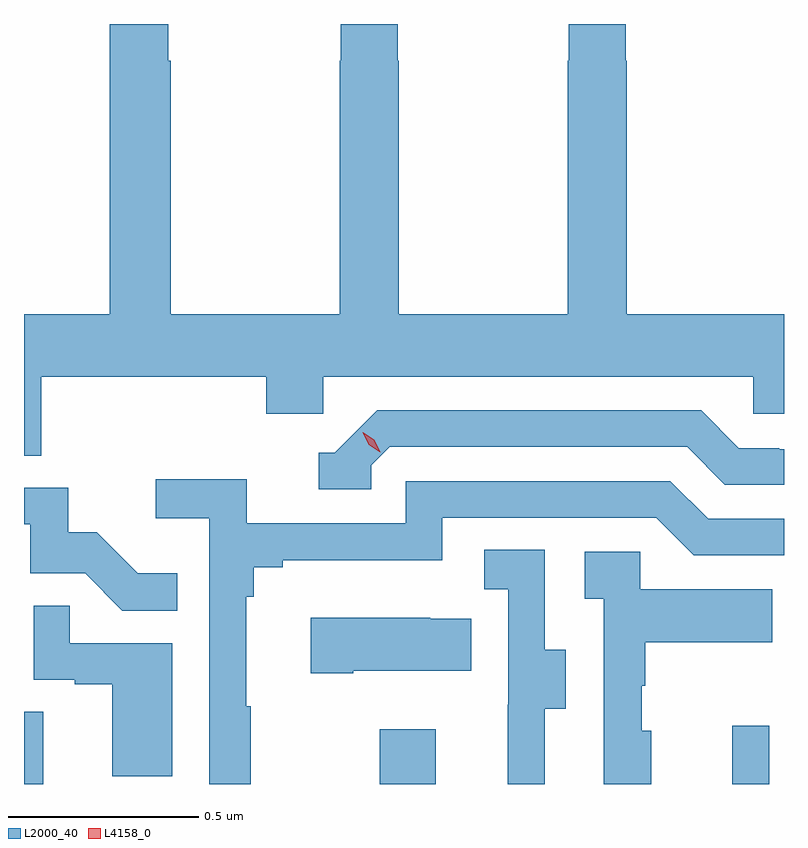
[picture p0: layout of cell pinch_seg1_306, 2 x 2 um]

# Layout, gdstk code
import gdstk
lib = gdstk.Library(unit=1e-6, precision=1e-09)
def R(c, l, rs):  # rectangles x0, y0, x1, y1
    for r in rs: c.add(gdstk.rectangle(r[:2], r[2:], *l))
def P(c, l, *ps):  # polygons
    for p in ps: c.add(gdstk.Polygon(p, *l))
L2000_40 = (2000, 40)
L4158_0 = (4158, 0)

pinch_seg1_306 = lib.new_cell('pinch_seg1_306')
R(pinch_seg1_306, L2000_40, [(946.774,561.316,946.825,561.506), (947.71,561.316,947.857,561.46), (948.638,561.316,948.735,561.469)])
P(pinch_seg1_306, L2000_40, [(946.82,562.388),(947.411,562.388),(947.411,562.29),(947.562,562.29),(947.562,562.388),(948.693,562.388),(948.693,562.29),(948.774,562.29),(948.774,562.552),(948.36,562.552),(948.36,563.219),(948.357,563.219),(948.357,563.316),(948.207,563.316),(948.207,563.219),(948.205,563.219),(948.205,562.552),(947.76,562.552),(947.76,563.219),(947.757,563.219),(947.757,563.316),(947.607,563.316),(947.607,563.219),(947.605,563.219),(947.605,562.552),(947.16,562.552),(947.16,563.219),(947.153,563.219),(947.153,563.316),(947,563.316),(947,562.552),(946.774,562.552),(946.774,562.18),(946.82,562.18)],
  [(947.688,562.155),(947.736,562.203),(948.519,562.203),(948.618,562.104),(948.774,562.104),(948.774,562.197),(948.762,562.197),(948.762,562.2),(948.655,562.2),(948.556,562.299),(947.703,562.299),(947.592,562.188),(947.549,562.188),(947.549,562.092),(947.688,562.092)],
  [(947.371,561.521),(947.359,561.521),(947.359,561.809),(947.378,561.809),(947.378,561.886),(947.455,561.886),(947.455,561.905),(947.874,561.905),(947.874,562.017),(948.438,562.017),(948.537,561.918),(948.774,561.918),(948.774,562.014),(948.574,562.014),(948.475,562.113),(947.778,562.113),(947.778,562.002),(947.36,562.002),(947.36,562.118),(947.121,562.118),(947.121,562.016),(947.262,562.016),(947.262,561.316),(947.371,561.316)],
  [(947.177,561.871),(947.073,561.871),(946.966,561.978),(946.89,561.978),(946.89,562.095),(946.774,562.095),(946.774,561.999),(946.791,561.999),(946.791,561.87),(946.935,561.87),(947.033,561.772),(947.177,561.772)],
  [(948.145,561.514),(948.199,561.514),(948.199,561.669),(948.144,561.669),(948.144,561.932),(947.985,561.932),(947.985,561.829),(948.048,561.829),(948.048,561.525),(948.047,561.525),(948.047,561.316),(948.145,561.316)],
  [(948.424,561.456),(948.399,561.456),(948.399,561.575),(948.409,561.575),(948.409,561.689),(948.743,561.689),(948.743,561.829),(948.396,561.829),(948.396,561.927),(948.249,561.927),(948.249,561.803),(948.3,561.803),(948.3,561.316),(948.424,561.316)],
  [(947.164,561.687),(946.895,561.687),(946.895,561.785),(946.8,561.785),(946.8,561.591),(946.907,561.591),(946.907,561.579),(947.006,561.579),(947.006,561.336),(947.164,561.336)],
  [(947.641,561.614),(947.951,561.614),(947.951,561.751),(947.843,561.751),(947.843,561.754),(947.529,561.754),(947.529,561.607),(947.641,561.607)])
P(pinch_seg1_306, L4158_0, [(947.711,562.189),(947.681,562.209),(947.666,562.241),(947.666,562.242),(947.666,562.242),(947.696,562.222),(947.711,562.189),(947.711,562.189)])

lib.write_gds('pinch_seg1_306.gds')
